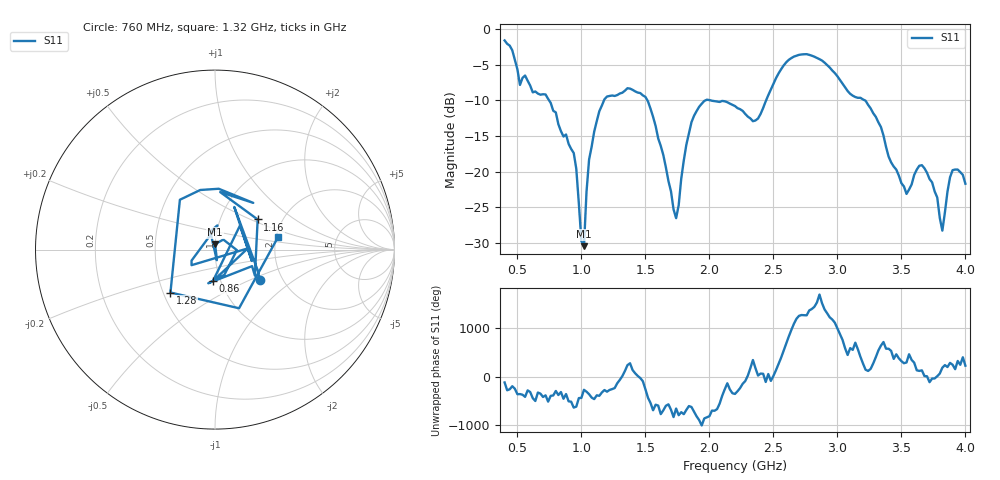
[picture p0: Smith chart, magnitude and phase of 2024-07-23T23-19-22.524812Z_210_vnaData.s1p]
!Created with skrf (http://scikit-rf.org).
# Hz S RI R 50.0
!freq ReS11 ImS11
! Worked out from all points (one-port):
!   181 points, 400 MHz to 4 GHz, reference 50 ohm
!   lowest |S11| = -30.4 dB at 1.02 GHz (marker M1), VSWR 1.06, Z = 49.9 + j3.01 ohm
!   |S11| at or under -10 dB: 1.516 GHz to 1.969 GHz (453.6 MHz wide, 26 % of centre); 2.009 GHz to 2.443 GHz (433.5 MHz wide, 19.5 % of centre); 3.215 GHz to end of sweep (the widest 3 of 4)
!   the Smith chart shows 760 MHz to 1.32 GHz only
!   S11 on the Smith chart (normalised r, x): 760 MHz: 1.53, -0.58; 860 MHz: 0.92, -0.33; 1.16 GHz: 1.50, +0.55; 1.28 GHz: 0.55, -0.30; 1.32 GHz: 2.05, +0.33
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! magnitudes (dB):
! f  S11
! 400 MHz  -1.6
! 520 MHz  -7.8
! 760 MHz  -10.3
! 860 MHz  -15.1
! 940 MHz  -17.4
! 1 GHz  -29.7
! 1.02 GHz  -30.4
! 1.06 GHz  -18.3
! 1.16 GHz  -10.7
! 1.28 GHz  -9.3
! 1.3 GHz  -9.0
! 1.32 GHz  -8.9
! 1.52 GHz  -10.1
! 1.74 GHz  -26.5
! 1.76 GHz  -24.7
! 1.82 GHz  -16.2
! 1.9 GHz  -11.5
! 2.2 GHz  -10.8
! 2.38 GHz  -12.5
! 2.66 GHz  -3.9
! 3.1 GHz  -9.1
! 3.26 GHz  -11.1
! 3.56 GHz  -22.5
! 3.68 GHz  -19.5
! 3.78 GHz  -23.6
! 3.82 GHz  -28.3
! 3.9 GHz  -19.8
! 4 GHz  -21.7
